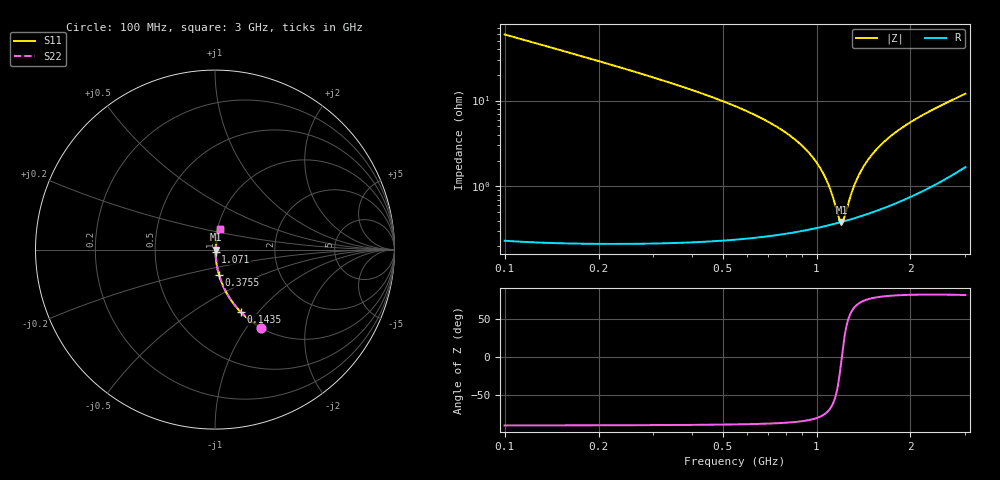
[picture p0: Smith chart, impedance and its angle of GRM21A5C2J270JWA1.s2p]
!Murata Part Number: GRM21A5C2J270JWA1
!These Parameters are Measured in Series Mode Connection
!Data Generated on Mar 30, 2021
!  o--ll--o
!Port1  Port2
!  o------o
!Operation Temp=25[degC], DC Bias Voltage=0[V]
!Freq. Start=100[MHz] Stop=3[GHz] 401[Steps]
# Hz S RI R 50
!Freq.(Hz) S11(Real) S11(Imag) S21(Real) S21(Imag) S12(Real) S12(Imag) S22(Real) S22(Imag)
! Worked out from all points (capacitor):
!   401 points, 100 MHz to 3 GHz, reference 50 ohm
!   read as one part in series: C = 26.9 pF near 114.5 MHz
!   lowest |Z| = 385 mohm at 1.202 GHz (marker M1)
!   series resonance near 1.205 GHz, so ESL is about 650 pH
!   S11 on the Smith chart (normalised r, x): 100 MHz: 1.00, -1.18; 143.5 MHz: 1.00, -0.81; 375.5 MHz: 1.00, -0.29; 1.071 GHz: 1.01, -0.02; 3 GHz: 1.03, +0.24
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1e8  0.2579 -0.4355  0.7421 0.4355  0.7421 0.4355  0.2579 -0.4355
1.435e8  0.1434 -0.3479  0.8566 0.3479  0.8566 0.3479  0.1434 -0.3479
1.7975e8  0.0957 -0.2908  0.9043 0.2908  0.9043 0.2908  0.0957 -0.2908
2.305e8  0.0596 -0.2325  0.9404 0.2325  0.9404 0.2325  0.0596 -0.2325
3.755e8  0.022 -0.1393  0.978 0.1393  0.978 0.1393  0.022 -0.1393
5.8575e8  0.00838 -0.0768  0.9916 0.0768  0.9916 0.0768  0.00838 -0.0768
7.7425e8  0.00478 -0.045  0.9952 0.045  0.9952 0.045  0.00478 -0.045
8.975e8  0.00388 -0.0295  0.9961 0.0295  0.9961 0.0295  0.00388 -0.0295
9.9175e8  0.00361 -0.0194  0.9964 0.0194  0.9964 0.0194  0.00361 -0.0194
1.0715e9  0.00358 -0.0117  0.9964 0.0117  0.9964 0.0117  0.00358 -0.0117
1.115e9  0.00363 -0.0077  0.9964 0.0077  0.9964 0.0077  0.00363 -0.0077
1.18025e9  0.00377 -0.00203  0.9962 0.00203  0.9962 0.00203  0.00377 -0.00203
1.202e9  0.00383 -0.000214  0.9962 0.000214  0.9962 0.000214  0.00383 -0.000214
1.22375e9  0.0039 0.00158  0.9961 -0.00158  0.9961 -0.00158  0.0039 0.00158
1.29625e9  0.0042 0.00735  0.9958 -0.00735  0.9958 -0.00735  0.0042 0.00735
1.3615e9  0.00453 0.0123  0.9955 -0.0123  0.9955 -0.0123  0.00453 0.0123
1.44125e9  0.00501 0.0181  0.995 -0.0181  0.995 -0.0181  0.00501 0.0181
1.55e9  0.00579 0.0257  0.9942 -0.0257  0.9942 -0.0257  0.00579 0.0257
1.76025e9  0.00769 0.0395  0.9923 -0.0395  0.9923 -0.0395  0.00769 0.0395
2.03575e9  0.0109 0.0566  0.9891 -0.0566  0.9891 -0.0566  0.0109 0.0566
2.5215e9  0.0188 0.0853  0.9812 -0.0853  0.9812 -0.0853  0.0188 0.0853
3e9  0.0298 0.1134  0.9702 -0.1134  0.9702 -0.1134  0.0298 0.1134
